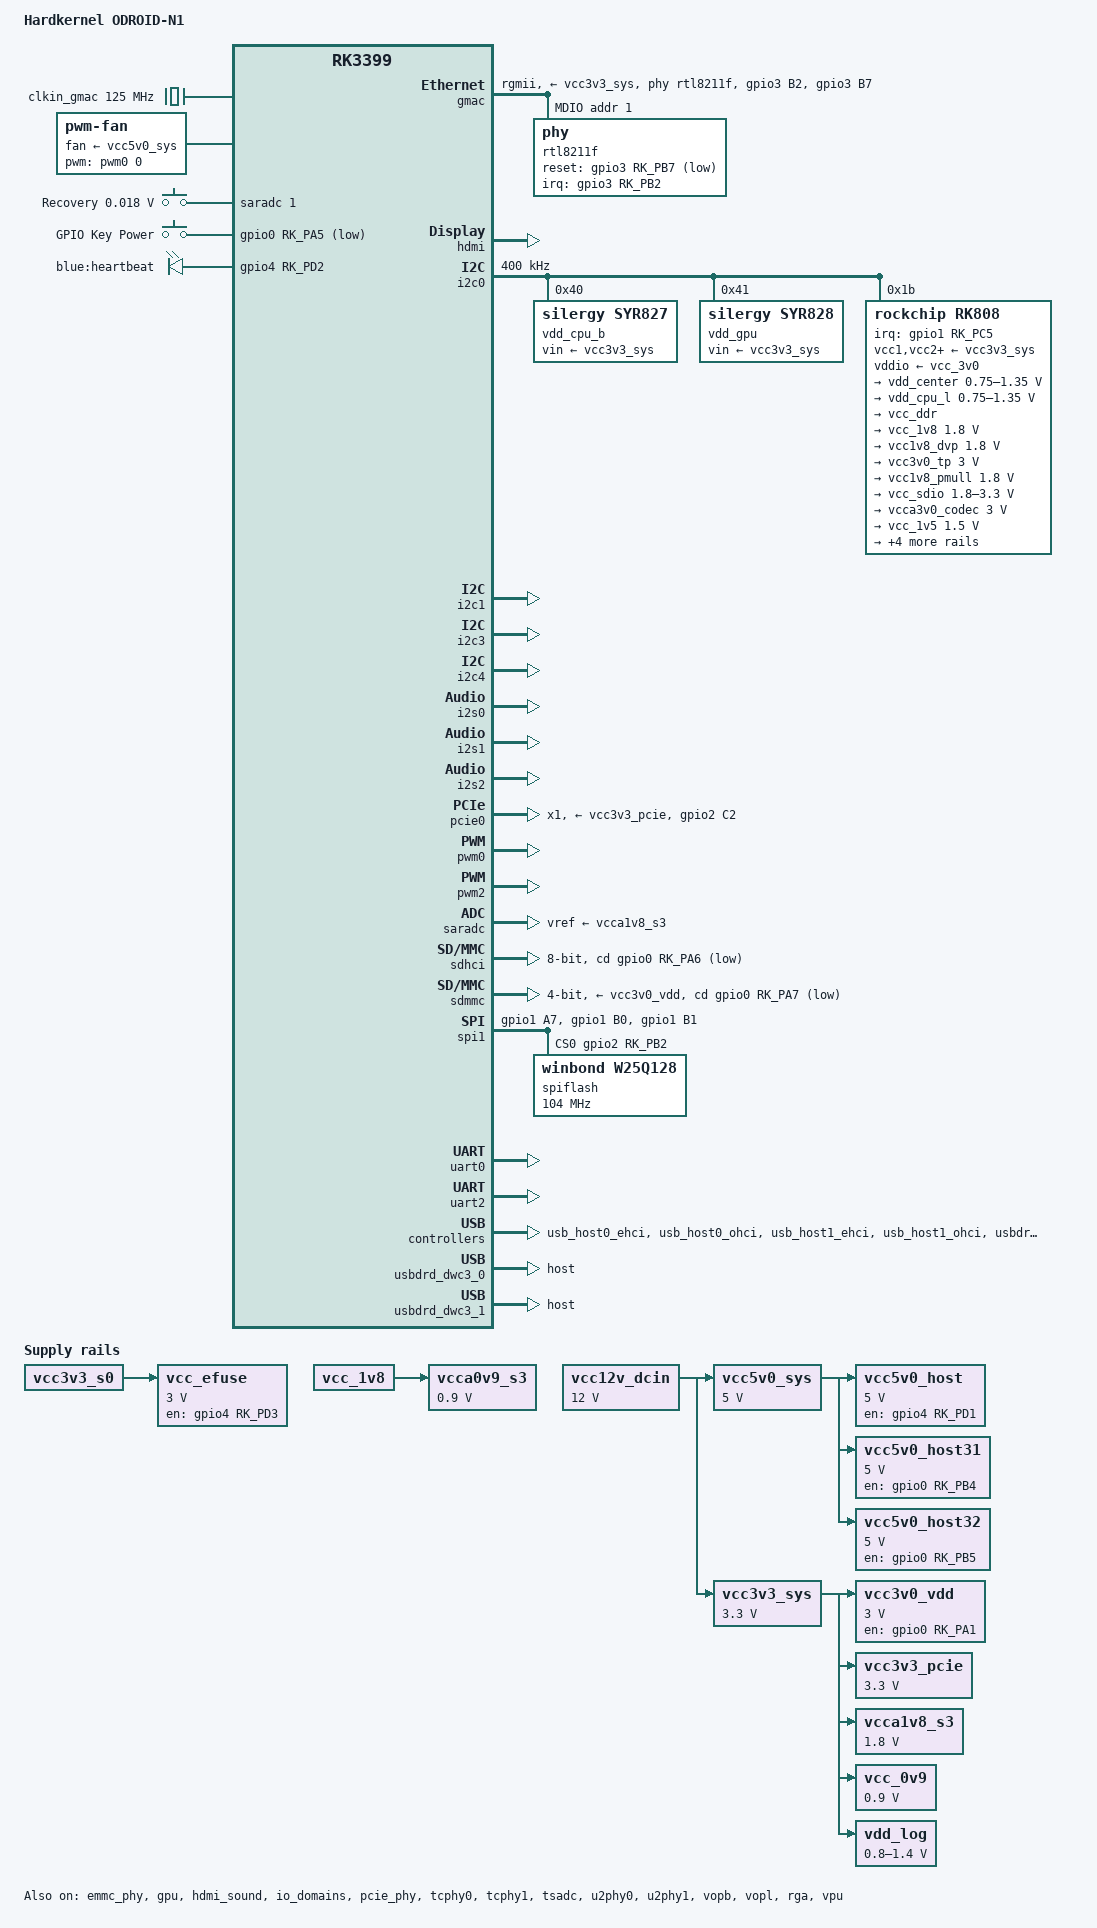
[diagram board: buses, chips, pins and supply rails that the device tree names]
// SPDX-License-Identifier: (GPL-2.0+ OR MIT)
/*
 * Copyright (c) 2020 Hardkernel Co., Ltd
 *
 * Copyright (C) 2020 Anand Moon <linux.amoon@gmail.com>
 */

/dts-v1/;
#include <dt-bindings/pwm/pwm.h>
#include <dt-bindings/input/linux-event-codes.h>
#include <dt-bindings/input/input.h>
#include "rk3399.dtsi"
#include "rk3399-opp.dtsi"

/ {
	model = "Hardkernel ODROID-N1";
	compatible = "hardkernel,odroidn1", "rockchip,rk3399";

	chosen {
		stdout-path = "serial2:115200n8";
	};

	clkin_gmac: external-gmac-clock {
		compatible = "fixed-clock";
		clock-frequency = <125000000>;
		clock-output-names = "clkin_gmac";
		#clock-cells = <0>;
	};

	fan: pwm-fan {
		compatible = "pwm-fan";
		cooling-levels = <0 150 195 255>;
		cooling-min-state = <0>;
		cooling-max-state = <3>;
		#cooling-cells = <2>;
		fan-supply = <&vcc5v0_sys>;
		pwms = <&pwm0 0 40000 0>; /* 25 kHz */
		status = "okay";
	};
	

	adc-keys {
		compatible = "adc-keys";
		io-channels = <&saradc 1>;
		io-channel-names = "buttons";
		keyup-threshold-microvolt = <1500000>;
		poll-interval = <100>;

		recovery {
			label = "Recovery";
			linux,code = <KEY_VENDOR>;
			press-threshold-microvolt = <18000>;
		};
	};

	gpio-keys {
		compatible = "gpio-keys";
		autorepeat;
		pinctrl-names = "default";
		pinctrl-0 = <&pwr_btn>;

		power {
			gpios = <&gpio0 RK_PA5 GPIO_ACTIVE_LOW>;
			label = "GPIO Key Power";
			linux,code = <KEY_POWER>;
			debounce-interval = <100>;
			wakeup-source;
		};
	};

	gpio_leds {
		compatible = "gpio-leds";

		heartbeat {
			label = "blue:heartbeat";
			gpios = <&gpio4 RK_PD2 GPIO_ACTIVE_HIGH>;
			linux,default-trigger = "heartbeat";
			pinctrl-names = "default";
			pinctrl-0 = <&led_pins>;
		};
	};

	/* VCC12V_SYS */
	vcc12v_dcin: vcc12v-dcin {
		compatible = "regulator-fixed";
		regulator-name = "vcc12v_dcin";
		regulator-always-on;
		regulator-min-microvolt = <12000000>;
		regulator-max-microvolt = <12000000>;
	};

	/* VCC5V0_SYS */
	vcc5v0_sys: vcc5v0-sys {
		compatible = "regulator-fixed";
		regulator-name = "vcc5v0_sys";
		regulator-always-on;
		regulator-min-microvolt = <5000000>;
		regulator-max-microvolt = <5000000>;
		/* U13 NB679GD */
		vin-supply = <&vcc12v_dcin>;
	};

	/* VCC3V3_SYS */
	vcc3v3_sys: vcc3v3-sys {
		compatible = "regulator-fixed";
		regulator-name = "vcc3v3_sys";
		regulator-always-on;
		regulator-min-microvolt = <3300000>;
		regulator-max-microvolt = <3300000>;
		/* U10 NB680GD */
		vin-supply = <&vcc12v_dcin>;
	};

	/* VCC3V0_VDD sdmmc */
	vcc3v0_vdd: vcc3v0-vdd {
		compatible = "regulator-fixed";
		/* SDMMC0_PWR_H - TFLASH_PWR_EN */
		gpio = <&gpio0 RK_PA1 GPIO_ACTIVE_HIGH>;
		enable-active-high;
		pinctrl-names = "default";
		pinctrl-0 = <&sdmmc0_pwr_h>;
		regulator-min-microvolt = <3000000>;
		regulator-max-microvolt = <3000000>;
		regulator-name = "vcc3v0_vdd";
		/* RT9179GB */
		vin-supply = <&vcc3v3_sys>;
	};

	/* VCC_EFUSE */
	vcc_efuse: vcc-efuse {
		compatible = "regulator-fixed";
		regulator-name = "vcc_efuse";
		gpio = <&gpio4 RK_PD3 GPIO_ACTIVE_HIGH>;
		enable-active-high;
		regulator-always-on;
		regulator-min-microvolt = <3000000>;
		regulator-max-microvolt = <3000000>;
		/* RT9179GB */
		vin-supply = <&vcc3v3_s0>;
	};

	vcc3v3_pcie: vcc3v3-pcie-regulator {
		compatible = "regulator-fixed";
		enable-active-high;
		pinctrl-names = "default";
		pinctrl-0 = <&pcie_drv>;
		regulator-boot-on;
		regulator-name = "vcc3v3_pcie";
		regulator-min-microvolt = <3300000>;
		regulator-max-microvolt = <3300000>;
		vin-supply = <&vcc3v3_sys>;
	};

	/* VCCA1V8_S3 */
	vcca1v8_s3: vcca1v8-s3 {
		compatible = "regulator-fixed";
		regulator-name = "vcca1v8_s3";
		regulator-min-microvolt = <1800000>;
		regulator-max-microvolt = <1800000>;
		/* RT9013-18GB */
		vin-supply = <&vcc3v3_sys>;
	};

	/* VCCA0V9_S3 */
	vcca0v9_s3: vcca0v9-s3 {
		compatible = "regulator-fixed";
		regulator-name = "vcca0v9_s3";
		regulator-min-microvolt = <900000>;
		regulator-max-microvolt = <900000>;
		/* RT9078-09J5 */
		vin-supply = <&vcc_1v8>;
	};

	/* VCC_0V9 */
	vcc_0v9: vcc-0v9 {
		compatible = "regulator-fixed";
		regulator-name = "vcc_0v9";
		regulator-always-on;
		regulator-min-microvolt = <900000>;
		regulator-max-microvolt = <900000>;
		/* SY8088AAC */
		vin-supply = <&vcc3v3_sys>;
	};

	/* USB_POWER */
	vcc5v0_host: vcc5v0-host {
		compatible = "regulator-fixed";
		/* USB - PWREN */
		gpio = <&gpio4 RK_PD1 GPIO_ACTIVE_HIGH>;
		enable-active-high;
		pinctrl-names = "default";
		pinctrl-0 = <&vcc5v0_host_en>;
		regulator-name = "vcc5v0_host";
		regulator-always-on;
		regulator-min-microvolt = <5000000>;
		regulator-max-microvolt = <5000000>;
		vin-supply = <&vcc5v0_sys>;
	};

	/* USB regulator 3.0 */
	vcc5v0_host31: vcc5v0-host31 {
		compatible = "regulator-fixed";
		gpio = <&gpio0 RK_PB4 GPIO_ACTIVE_HIGH>;
		enable-active-high;
		pinctrl-names = "default";
		pinctrl-0 = <&vcc5v0_host_en31>;
		regulator-name = "vcc5v0_host31";
		regulator-always-on;
		regulator-min-microvolt = <5000000>;
		regulator-max-microvolt = <5000000>;
		vin-supply = <&vcc5v0_sys>;
	};

	/* USB regulator 3.0 */
	vcc5v0_host32: vcc5v0-host32 {
		compatible = "regulator-fixed";
		gpio = <&gpio0 RK_PB5 GPIO_ACTIVE_HIGH>;
		enable-active-high;
		pinctrl-names = "default";
		pinctrl-0 = <&vcc5v0_host_en32>;
		regulator-name = "vcc5v0_host32";
		regulator-always-on;
		regulator-min-microvolt = <5000000>;
		regulator-max-microvolt = <5000000>;
		vin-supply = <&vcc5v0_sys>;
	};

	vdd_log: vdd-log {
		compatible = "pwm-regulator";
		pwms = <&pwm2 0 25000 1>;
		regulator-name = "vdd_log";
		regulator-always-on;
		regulator-min-microvolt = <800000>;
		regulator-max-microvolt = <1400000>;
		regulator-init-microvolt = <950000>;
		vin-supply = <&vcc3v3_sys>;
	};
};

&cpu_b0 {
	cpu-supply = <&vdd_cpu_b>;
};

&cpu_b1 {
	cpu-supply = <&vdd_cpu_b>;
};

&cpu_l0 {
	cpu-supply = <&vdd_cpu_l>;
};

&cpu_l1 {
	cpu-supply = <&vdd_cpu_l>;
};

&cpu_l2 {
	cpu-supply = <&vdd_cpu_l>;
};

&cpu_l3 {
	cpu-supply = <&vdd_cpu_l>;
};

&cpu_thermal {
	trips {
		cpu_alert2: cpu_alert2 {
			temperature = <45000>;
			hysteresis = <10000>;
			type = "active";
		};
		cpu_alert3: cpu_alert3 {
			temperature = <50000>;
			hysteresis = <10000>;
			type = "active";
		};
		cpu_alert4: cpu_alert4 {
			temperature = <60000>;
			hysteresis = <10000>;
			type = "active";
		};
	};
	cooling-maps {
		map2 {
			trip = <&cpu_alert2>;
			cooling-device = <&fan 0 1>;
		};
		map3 {
			trip = <&cpu_alert3>;
			cooling-device = <&fan 1 2>;
		};
		map4 {
			trip = <&cpu_alert4>;
			cooling-device = <&fan 2 3>;
		};
	};
};

&cluster0_opp {
	opp06 {
		opp-hz = /bits/ 64 <1512000000>;
		opp-microvolt = <1200000>;
		opp-microvolt-L0 = <1200000>;
		opp-microvolt-L1 = <1175000>;
		opp-microvolt-L2 = <1150000>;
		opp-microvolt-L3 = <1125000>;
		clock-latency-ns = <40000>;
	};
};

&cluster1_opp {
	opp08 {
		opp-hz = /bits/ 64 <1992000000>;
		opp-microvolt = <1300000>;
		opp-microvolt-L0 = <1300000>;
		opp-microvolt-L1 = <1275000>;
		opp-microvolt-L2 = <1250000>;
		opp-microvolt-L3 = <1225000>;
		clock-latency-ns = <40000>;
	};
};

&emmc_phy {
	status = "okay";
};

&gmac {
	assigned-clocks = <&cru SCLK_RMII_SRC>;
	assigned-clock-parents = <&clkin_gmac>;
	clock_in_out = "input";
	phy-handle = <&rtl8211f>;
	phy-supply = <&vcc3v3_sys>;
	phy-mode = "rgmii";
	pinctrl-names = "default";
	pinctrl-0 = <&rgmii_pins>, <&phy_intb>, <&phy_rstb>;
	tx_delay = <0x28>;
	rx_delay = <0x11>;

	/* used to pass mac address from boot.scr to set static mac address */
	local-mac-address = [00 00 00 00 00 00];
	status = "okay";

	mdio {
		compatible = "snps,dwmac-mdio";
		#address-cells = <1>;
		#size-cells = <0>;

		rtl8211f: phy@1 {
			reg = <1>;
			interrupt-parent = <&gpio3>;
			interrupts = <RK_PB2 IRQ_TYPE_LEVEL_LOW>;
			snps,reset-gpio = <&gpio3 RK_PB7 GPIO_ACTIVE_LOW>;
			snps,reset-delays-us = <0>, <10000>, <50000>;
			snps,reset-active-low;
		};
	};
};

&gpu {
	mali-supply = <&vdd_gpu>;
	#cooling-cells = <2>;
	status = "okay";
};

&hdmi {
	ddc-i2c-bus = <&i2c3>;
	pinctrl-names = "default";
	pinctrl-0 = <&hdmi_cec>;
	status = "okay";
};

&hdmi_sound {
	status = "okay";
};

&i2c0 {
	clock-frequency = <400000>;
	i2c-scl-rising-time-ns = <168>;
	i2c-scl-falling-time-ns = <4>;
	status = "okay";

	/* SYR837PKC */
	vdd_cpu_b: regulator@40 {
		compatible = "silergy,syr827";
		reg = <0x40>;
		fcs,suspend-voltage-selector = <1>;
		pinctrl-names = "default";
		pinctrl-0 = <&cpu_b_sleep>;
		regulator-name = "cpu_b_sleep";
		regulator-min-microvolt = <712500>;
		regulator-max-microvolt = <1500000>;
		regulator-ramp-delay = <1000>;
		regulator-always-on;
		regulator-boot-on;
		vin-supply = <&vcc3v3_sys>;

		regulator-state-mem {
			regulator-off-in-suspend;
		};
	};

	/* SYR838PKC */
	vdd_gpu: regulator@41 {
		compatible = "silergy,syr828";
		reg = <0x41>;
		fcs,suspend-voltage-selector = <1>;
		pinctrl-names = "default";
		pinctrl-0 = <&gpu_sleep>;
		regulator-name = "vdd_gpu";
		regulator-min-microvolt = <712500>;
		regulator-max-microvolt = <1500000>;
		regulator-ramp-delay = <1000>;
		regulator-always-on;
		regulator-boot-on;
		vin-supply = <&vcc3v3_sys>;

		regulator-state-mem {
			regulator-off-in-suspend;
		};
	};

	rk808: pmic@1b {
		compatible = "rockchip,rk808";
		reg = <0x1b>;
		clock-output-names = "xin32k", "rk808-clkout2";
		#clock-cells = <1>;

		interrupt-parent = <&gpio1>;
		interrupts = <RK_PC5 IRQ_TYPE_LEVEL_LOW>;

		pinctrl-names = "default";
		pinctrl-0 = <&pmic_int_l>;
		rockchip,system-power-controller;
		wakeup-source;

		vcc1-supply = <&vcc3v3_sys>;
		vcc2-supply = <&vcc3v3_sys>;
		vcc3-supply = <&vcc3v3_sys>;
		vcc4-supply = <&vcc3v3_sys>;
		vcc6-supply = <&vcc3v3_sys>;
		vcc7-supply = <&vcc3v3_sys>;
		vcc8-supply = <&vcc3v3_sys>;
		vcc9-supply = <&vcc3v3_sys>;
		vcc10-supply = <&vcc3v3_sys>;
		vcc11-supply = <&vcc3v3_sys>;
		vcc12-supply = <&vcc3v3_sys>;
		vddio-supply = <&vcc_3v0>;

		regulators {
			/* VDD_CENTER - BUCK1 */
			vdd_center: DCDC_REG1 {
				regulator-name = "vdd_center";
				regulator-always-on;
				regulator-boot-on;
				regulator-min-microvolt = <750000>;
				regulator-max-microvolt = <1350000>;
				regulator-ramp-delay = <6001>;

				regulator-state-mem {
					regulator-off-in-suspend;
				};
			};

			/* VDD_CPU_L - BUCK2 */
			vdd_cpu_l: DCDC_REG2 {
				regulator-name = "vdd_cpu_l";
				regulator-always-on;
				regulator-boot-on;
				regulator-min-microvolt = <750000>;
				regulator-max-microvolt = <1350000>;
				regulator-ramp-delay = <6001>;

				regulator-state-mem {
					regulator-off-in-suspend;
				};
			};

			/* VCC_DDR - BUCK3 */
			vcc_ddr: DCDC_REG3 {
				regulator-name = "vcc_ddr";
				regulator-always-on;
				regulator-boot-on;

				regulator-state-mem {
					regulator-on-in-suspend;
				};
			};

			/* VCC_1V8 - BUCK4 */
			vcc_1v8: DCDC_REG4 {
				regulator-name = "vcc_1v8";
				regulator-always-on;
				regulator-boot-on;
				regulator-min-microvolt = <1800000>;
				regulator-max-microvolt = <1800000>;

				regulator-state-mem {
					regulator-on-in-suspend;
					regulator-suspend-microvolt = <1800000>;
				};
			};

			/* VCC1V8_DVP - NU */
			vcc1v8_dvp: LDO_REG1 {
				regulator-name = "vcc1v8_dvp";
				regulator-always-on;
				regulator-boot-on;
				regulator-min-microvolt = <1800000>;
				regulator-max-microvolt = <1800000>;

				regulator-state-mem {
					regulator-off-in-suspend;
				};
			};

			/* VCC3V0_TP - NU */
			vcc3v0_tp: LDO_REG2 {
				regulator-name = "vcc3v0_tp";
				regulator-always-on;
				regulator-boot-on;
				regulator-min-microvolt = <3000000>;
				regulator-max-microvolt = <3000000>;

				regulator-state-mem {
					regulator-off-in-suspend;
				};
			};

			/* VCC1V8_PMUPLL */
			vcc1v8_pmull: LDO_REG3 {
				regulator-name = "vcc1v8_pmull";
				regulator-always-on;
				regulator-boot-on;
				regulator-min-microvolt = <1800000>;
				regulator-max-microvolt = <1800000>;

				regulator-state-mem {
					regulator-on-in-suspend;
					regulator-suspend-microvolt = <1800000>;
				};
			};

			/* VCC_SDIO */
			vcc_sdio: LDO_REG4 {
				regulator-name = "vcc_sdio";
				regulator-min-microvolt = <1800000>;
				regulator-max-microvolt = <3300000>;

				regulator-state-mem {
					regulator-on-in-suspend;
					regulator-suspend-microvolt = <3300000>;
				};
			};

			/* VCCA3V0_CODEC */
			vcca3v0_codec: LDO_REG5 {
				regulator-name = "vcca3v0_codec";
				regulator-always-on;
				regulator-boot-on;
				regulator-min-microvolt = <3000000>;
				regulator-max-microvolt = <3000000>;

				regulator-state-mem {
					regulator-off-in-suspend;
				};
			};

			/* VCC_1V5 */
			vcc_1v5: LDO_REG6 {
				regulator-name = "vcc_1v5";
				regulator-always-on;
				regulator-boot-on;
				regulator-min-microvolt = <1500000>;
				regulator-max-microvolt = <1500000>;

				regulator-state-mem {
					regulator-on-in-suspend;
					regulator-suspend-microvolt = <1500000>;
				};
			};

			/* VCCA1V8_CODEC */
			vcca1v8_codec: LDO_REG7 {
				regulator-name = "vcca1v8_codec";
				regulator-always-on;
				regulator-boot-on;
				regulator-min-microvolt = <1800000>;
				regulator-max-microvolt = <1800000>;

				regulator-state-mem {
					regulator-off-in-suspend;
				};
			};

			/* VCC_3V0 */
			vcc_3v0: LDO_REG8 {
				regulator-name = "vcc_3v0";
				regulator-always-on;
				regulator-boot-on;
				regulator-min-microvolt = <3000000>;
				regulator-max-microvolt = <3000000>;

				regulator-state-mem {
					regulator-on-in-suspend;
					regulator-suspend-microvolt = <3000000>;
				};
			};

			/* VSWOUT1 : VCC3V3_S3 */
			vcc3v3_s3: SWITCH_REG1 {
				regulator-name = "vcc3v3_s3";
				regulator-always-on;
				regulator-boot-on;

				regulator-state-mem {
					regulator-off-in-suspend;
				};
			};

			/* VSWOUT2 : VCC3V3_S0 */
			vcc3v3_s0: SWITCH_REG2 {
				regulator-name = "vcc3v3_s0";
				regulator-always-on;
				regulator-boot-on;

				regulator-state-mem {
					regulator-off-in-suspend;
				};
			};
		};
	};
};

&i2c1 {
	i2c-scl-rising-time-ns = <300>;
	i2c-scl-falling-time-ns = <15>;
	status = "okay";
};

&i2c3 {
	i2c-scl-rising-time-ns = <450>;
	i2c-scl-falling-time-ns = <15>;
	status = "okay";
};

&i2c4 {
	i2c-scl-rising-time-ns = <600>;
	i2c-scl-falling-time-ns = <20>;
	status = "okay";
};

&i2s0 {
	rockchip,playback-channels = <8>;
	rockchip,capture-channels = <8>;
	#sound-dai-cells = <0>;
	status = "okay";
};

&i2s1 {
	rockchip,playback-channels = <2>;
	rockchip,capture-channels = <2>;
	#sound-dai-cells = <0>;
	status = "okay";
};

&i2s2 {
	status = "okay";
};

&io_domains {
	bt656-supply = <&vcc_1v5>;	/* APIO2_VDD */
	audio-supply = <&vcca1v8_codec>;/* APIO5_VDD */
	sdmmc-supply = <&vcc_sdio>;	/* SDMMC0_VDD*/
	gpio1830-supply = <&vcc_3v0>;	/* APIO4_VDD */
	status = "okay";
};

&pcie_phy {
	assigned-clock-parents = <&cru SCLK_PCIEPHY_REF100M>;
	assigned-clocks = <&cru SCLK_PCIEPHY_REF>;
	assigned-clock-rates = <100000000>;
	status = "okay";
};

&pcie0 {
	ep-gpios = <&gpio2 RK_PC2 GPIO_ACTIVE_HIGH>;
	/* PERST# asserted in S3 */
	pcie-reset-suspend = <1>;
	max-link-speed = <2>;
	num-lanes = <1>;
	pinctrl-names = "default";
	pinctrl-0 = <&pcie_clkreqn_cpm &pcie_clkreqnb_cpm &pcie_perst>;
	vpcie3v3-supply = <&vcc3v3_pcie>;
	vpcie1v8-supply = <&vcca1v8_s3>;
	vpcie0v9-supply = <&vcca0v9_s3>;
	status = "okay";
};

&pinctrl {
	buttons {
		pwr_btn: pwr-btn {
			rockchip,pins = <0 RK_PA5 RK_FUNC_GPIO &pcfg_pull_up>;
		};
	};

	leds {
		led_pins: led-pins {
			rockchip,pins = <4 RK_PD2 RK_FUNC_GPIO &pcfg_pull_down>;
		};
	};

	pcie {
		pcie_drv: pcie-drv {
			rockchip,pins = <2 RK_PA5 RK_FUNC_GPIO &pcfg_pull_down>;
		};

		pcie_perst: pcie-perst {
			/* PCIE2SATA_ASM1061 - RST */
			rockchip,pins = <2 RK_PC2 RK_FUNC_GPIO &pcfg_pull_up>;
		};
	};

	pmic {
		cpu_b_sleep: cpu-b-sleep {
			/* CPU_SLEEP */
			rockchip,pins = <1 RK_PC1 RK_FUNC_GPIO &pcfg_pull_down>;
		};

		gpu_sleep: gpu-sleep {
			/* GPU_SLEEP */
			rockchip,pins = <1 RK_PB6 RK_FUNC_GPIO &pcfg_pull_down>;
		};

		pmic_int_l: pmic-int-l {
			/* INT_H */
			rockchip,pins = <1 RK_PC7 RK_FUNC_GPIO &pcfg_pull_down>;
		};
	};

	phy {
		phy_intb: phy-intb {
			rockchip,pins = <3 RK_PB2 RK_FUNC_GPIO &pcfg_pull_up>;
		};

		phy_rstb: phy-rstb {
			rockchip,pins = <3 RK_PB7 RK_FUNC_GPIO &pcfg_pull_none>;
		};
	};


	sdmmc {
		sdmmc0_pwr_h: sdmmc0-pwr-h {
			/* SDMMC0_PWR_H */
			rockchip,pins = <0 RK_PA1 RK_FUNC_GPIO &pcfg_pull_up>;
		};
	};

	spi-pins {
		spi_rx: spi-rx {
			/* SPI_RXD */
			rockchip,pins = <1 RK_PA7 RK_FUNC_GPIO &pcfg_pull_up>;
		};

		spi_tx: spi-tx {
			/* SPI_TXD */
			rockchip,pins = <1 RK_PB0 RK_FUNC_GPIO &pcfg_pull_up>;
		};

		spi_clk: spi-clk {
			/* SPI_CLK */
			rockchip,pins = <1 RK_PB1 RK_FUNC_GPIO &pcfg_pull_up>;
		};
	};

	usbhub {
		vcc5v0_host_en: vcc5v0-host-en {
			/* PWREN */
			rockchip,pins = <4 RK_PD1 RK_FUNC_GPIO &pcfg_pull_down>;
		};

		vcc5v0_host_en31: vcc5v0-host-en31 {
			/* USB3-1_PWR_EN */
			rockchip,pins = <0 RK_PB4 RK_FUNC_GPIO &pcfg_pull_down>;
		};

		vcc5v0_host_en32: vcc5v0-host-en32 {
			/* USB3-2_PWR_EN */
			rockchip,pins = <0 RK_PB5 RK_FUNC_GPIO &pcfg_pull_down>;
		};
	};
};

&pmu_io_domains {
	pmu1830-supply = <&vcc_3v0>; /* PMUIO2_VDD */
	status = "okay";
};

&pwm0 {
	status = "okay";
};

&pwm2 {
	pinctrl-names = "active";
	pinctrl-0 = <&pwm2_pin_pull_down>;
	status = "okay";
};

&saradc {
	vref-supply = <&vcca1v8_s3>; /* ADC_AVDD */
	status = "okay";
};

&sdhci {
	/* eMMC_CD */
	cd-gpios = <&gpio0 RK_PA6 GPIO_ACTIVE_LOW>;
	bus-width = <8>;
	keep-power-in-suspend;
	cap-mmc-highspeed;
	mmc-hs400-1_8v;
	mmc-hs400-enhanced-strobe;
	max-frequency = <150000000>;
	status = "okay";
};

&sdmmc {
	/* SD_CD */
	cd-gpios = <&gpio0 RK_PA7 GPIO_ACTIVE_LOW>;
	bus-width = <4>;
	cap-sd-highspeed;
	sd-uhs-sdr104;
	disable-wp;
	max-frequency = <150000000>;
	pinctrl-names = "default";
	pinctrl-0 = <&sdmmc_clk &sdmmc_cmd &sdmmc_bus4>;
	vqmmc-supply = <&vcc_sdio>;
	vmmc-supply = <&vcc3v0_vdd>;
	status = "okay";
};

&spi1 {
	status = "okay";
	max-freq = <48000000>;
	pinctrl-names = "default";
	pinctrl-0 = <&spi_rx &spi_tx &spi_clk>;
	cs-gpios = <&gpio2 RK_PB2 GPIO_ACTIVE_HIGH>;

	/* Winbond 25Q128FVSG SPI flash */
	spiflash: w25q128@0 {
		#address-cells = <1>;
		#size-cells = <1>;
		compatible = "winbond,w25q128", "jedec,spi-nor";
		spi-max-frequency = <104000000>;
		reg = <0>;
	};
};

&tcphy0 {
	status = "okay";
};

&tcphy1 {
	status = "okay";
};

&tsadc {
	/* tshut mode 0:CRU 1:GPIO */
	rockchip,hw-tshut-mode = <1>;
	/* tshut polarity 0:LOW 1:HIGH */
	rockchip,hw-tshut-polarity = <1>;
	rockchip,hw-tshut-temp = <110000>;
	status = "okay";
};

/* USB 2.0 */
&u2phy0 {
	status = "okay";

	u2phy0_otg: otg-port {
		status = "okay";
	};

	u2phy0_host: host-port {
		phy-supply = <&vcc5v0_host>;
		status = "okay";
	};
};

/* USB 3.0 */
&u2phy1 {
	status = "okay";

	u2phy1_otg: otg-port {
		status = "okay";
	};

	u2phy1_host: host-port {
		phy-supply = <&vcc5v0_host>;
		status = "okay";
	};
};

&uart0 {
	status = "okay";
};

&uart2 {
	status = "okay";
};

&usb_host0_ehci {
	status = "okay";
};

&usb_host0_ohci {
	status = "okay";
};

&usb_host1_ehci {
	status = "okay";
};

&usb_host1_ohci {
	status = "okay";
};

&usbdrd3_0 {
	status = "okay";
};

&usbdrd_dwc3_0 {
	dr_mode = "host";
	status = "okay";
};

&usbdrd3_1 {
	status = "okay";
};

&usbdrd_dwc3_1 {
	dr_mode = "host";
	status = "okay";
};

&vopb {
	status = "okay";
};

&vopb_mmu {
	status = "okay";
};

&vopl {
	status = "okay";
};

&vopl_mmu {
	status = "okay";
};

&rga {
	status = "okay";
};

&vpu {
	status = "okay";
};

&vpu_mmu {
	status = "okay";
};

&vdec_mmu {
	status = "okay";
};

&iep_mmu {
	status = "okay";
};
